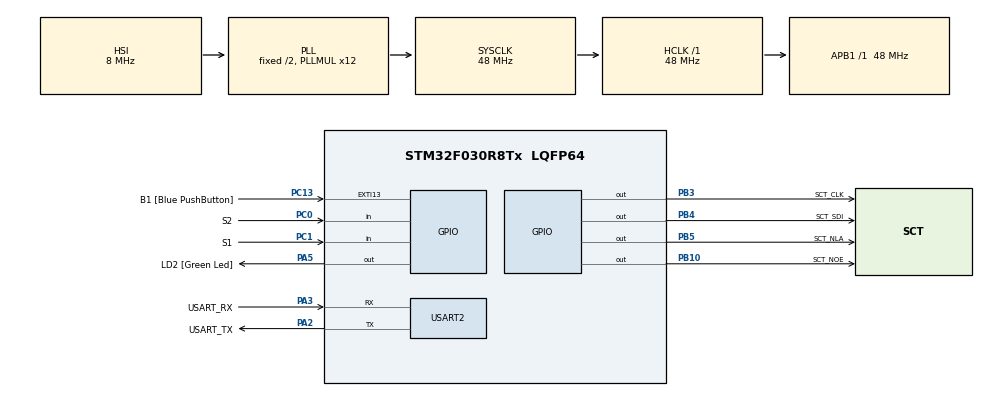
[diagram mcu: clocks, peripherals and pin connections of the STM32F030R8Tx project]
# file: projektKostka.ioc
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Mcu.Family=STM32F0
Mcu.Name=STM32F030R8Tx
Mcu.Package=LQFP64
PA13.GPIO_Label=TMS
PA13.Mode=Serial_Wire
PA13.Signal=SYS_SWDIO
PA14.GPIO_Label=TCK
PA14.Mode=Serial_Wire
PA14.Signal=SYS_SWCLK
PA2.GPIO_Label=USART_TX
PA2.GPIO_Mode=GPIO_MODE_AF_PP
PA2.GPIO_PuPd=GPIO_NOPULL
PA2.GPIO_Speed=GPIO_SPEED_FREQ_LOW
PA2.Mode=Asynchronous
PA2.Signal=USART2_TX
PA3.GPIO_Label=USART_RX
PA3.GPIO_Mode=GPIO_MODE_AF_PP
PA3.GPIO_PuPd=GPIO_NOPULL
PA3.GPIO_Speed=GPIO_SPEED_FREQ_LOW
PA3.Mode=Asynchronous
PA3.Signal=USART2_RX
PA5.GPIO_Label=LD2 [Green Led]
PA5.GPIO_Mode=GPIO_MODE_OUTPUT_PP
PA5.GPIO_PuPd=GPIO_NOPULL
PA5.GPIO_Speed=GPIO_SPEED_FREQ_LOW
PA5.Signal=GPIO_Output
PB10.GPIO_Label=SCT_NOE
PB10.Signal=GPIO_Output
PB3.GPIO_Label=SCT_CLK
PB3.Signal=GPIO_Output
PB4.GPIO_Label=SCT_SDI
PB4.Signal=GPIO_Output
PB5.GPIO_Label=SCT_NLA
PB5.Signal=GPIO_Output
PC0.GPIO_Label=S2
PC0.GPIO_PuPd=GPIO_PULLUP
PC0.Signal=GPIO_Input
PC1.GPIO_Label=S1
PC1.GPIO_PuPd=GPIO_PULLUP
PC1.Signal=GPIO_Input
PC13.GPIO_Label=B1 [Blue PushButton]
PC13.GPIO_ModeDefaultEXTI=GPIO_MODE_IT_FALLING
PC13.Signal=GPXTI13
PC14-OSC32_IN.Mode=LSE-External-Oscillator
PC14-OSC32_IN.Signal=RCC_OSC32_IN
PC15-OSC32_OUT.Mode=LSE-External-Oscillator
PC15-OSC32_OUT.Signal=RCC_OSC32_OUT
PF0-OSC_IN.Mode=HSE-External-Clock-Source
PF0-OSC_IN.Signal=RCC_OSC_IN
PF1-OSC_OUT.Signal=RCC_OSC_OUT
ProjectManager.HeapSize=0x200
ProjectManager.StackSize=0x400
ProjectManager.TargetToolchain=STM32CubeIDE
RCC.AHBFreq_Value=48000000
RCC.APB1Freq_Value=48000000
RCC.APB1TimFreq_Value=48000000
RCC.HCLKFreq_Value=48000000
RCC.PLLMUL=RCC_PLL_MUL12
RCC.SYSCLKFreq_VALUE=48000000
RCC.SYSCLKSource=RCC_SYSCLKSOURCE_PLLCLK
USART2.VirtualMode-Asynchronous=VM_ASYNC
board=NUCLEO-F030R8

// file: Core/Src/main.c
/* USER CODE BEGIN Header */
/**
  ******************************************************************************
  * @file           : main.c
  * @brief          : Main program body
  ******************************************************************************
  * @attention
  *
  * Copyright (c) 2025 STMicroelectronics.
  * All rights reserved.
  *
  * This software is licensed under terms that can be found in the LICENSE file
  * in the root directory of this software component.
  * If no LICENSE file comes with this software, it is provided AS-IS.
  *
  ******************************************************************************
  */
/* USER CODE END Header */
#include "main.h"

/* USER CODE BEGIN Includes */
#include "sct.h"
/* USER CODE END Includes */

/* USER CODE BEGIN PD */
#define ADD_VALUE 30
/* USER CODE END PD */

UART_HandleTypeDef huart2;

void SystemClock_Config(void);
static void MX_GPIO_Init(void);
static void MX_USART2_UART_Init(void);

int main(void)
{

  /* MCU Configuration--------------------------------------------------------*/

  /* Reset of all peripherals, Initializes the Flash interface and the Systick. */
  HAL_Init();

  /* Configure the system clock */
  SystemClock_Config();

  /* Initialize all configured peripherals */
  MX_GPIO_Init();
  MX_USART2_UART_Init();
  /* USER CODE BEGIN 2 */
  sct_init();
  HAL_Delay(1000);
  /* USER CODE END 2 */

  /* Infinite loop */
  /* USER CODE BEGIN WHILE */
  while (1)
  {
	  static uint16_t delay=40;
	  static uint8_t loop=0;
	  static uint16_t counter=0;
	  static uint32_t lastTick=0;

	  //sct_valueWithLEDsSpecial(100);
	  if(HAL_GPIO_ReadPin(S2_GPIO_Port, S2_Pin)==0)
	  {
		  loop=1;
		  counter = 0;
		  delay=40;
	  }
	  static uint8_t i = 1;
	  if (HAL_GPIO_ReadPin(S1_GPIO_Port, S1_Pin) == 0)
	  {
		  loop = 0;
	  }
	  if (HAL_GetTick() - lastTick >= delay && loop == 1)
	  {
		  sct_valueWithLEDsSpecial(i);
		  if(counter==18&&HAL_GetTick()%3==0)//možná spíš modulo 5
		  {
			  i=6;
		  }

		  i++;
		  lastTick = HAL_GetTick();
	  if (i == 7)
	  {
		i = 1;
		  counter++;
		  if (counter > 10) {
			delay = delay + ADD_VALUE;

			if (counter == 19)
			{
				loop = 0;
				counter = 0;
				delay=40;
			}
	  }

	}

	  }

    /* USER CODE END WHILE */

  }
}

void SystemClock_Config(void)
{
  RCC_OscInitTypeDef RCC_OscInitStruct = {0};
  RCC_ClkInitTypeDef RCC_ClkInitStruct = {0};

  /** Initializes the RCC Oscillators according to the specified parameters
  * in the RCC_OscInitTypeDef structure.
  */
  RCC_OscInitStruct.OscillatorType = RCC_OSCILLATORTYPE_HSI;
  RCC_OscInitStruct.HSIState = RCC_HSI_ON;
  RCC_OscInitStruct.HSICalibrationValue = RCC_HSICALIBRATION_DEFAULT;
  RCC_OscInitStruct.PLL.PLLState = RCC_PLL_ON;
  RCC_OscInitStruct.PLL.PLLSource = RCC_PLLSOURCE_HSI;
  RCC_OscInitStruct.PLL.PLLMUL = RCC_PLL_MUL12;
  RCC_OscInitStruct.PLL.PREDIV = RCC_PREDIV_DIV1;
  if (HAL_RCC_OscConfig(&RCC_OscInitStruct) != HAL_OK)
  {
    Error_Handler();
  }

  /** Initializes the CPU, AHB and APB buses clocks
  */
  RCC_ClkInitStruct.ClockType = RCC_CLOCKTYPE_HCLK|RCC_CLOCKTYPE_SYSCLK
                              |RCC_CLOCKTYPE_PCLK1;
  RCC_ClkInitStruct.SYSCLKSource = RCC_SYSCLKSOURCE_PLLCLK;
  RCC_ClkInitStruct.AHBCLKDivider = RCC_SYSCLK_DIV1;
  RCC_ClkInitStruct.APB1CLKDivider = RCC_HCLK_DIV1;

  if (HAL_RCC_ClockConfig(&RCC_ClkInitStruct, FLASH_LATENCY_1) != HAL_OK)
  {
    Error_Handler();
  }
}

static void MX_USART2_UART_Init(void)
{

  huart2.Instance = USART2;
  huart2.Init.BaudRate = 38400;
  huart2.Init.WordLength = UART_WORDLENGTH_8B;
  huart2.Init.StopBits = UART_STOPBITS_1;
  huart2.Init.Parity = UART_PARITY_NONE;
  huart2.Init.Mode = UART_MODE_TX_RX;
  huart2.Init.HwFlowCtl = UART_HWCONTROL_NONE;
  huart2.Init.OverSampling = UART_OVERSAMPLING_16;
  huart2.Init.OneBitSampling = UART_ONE_BIT_SAMPLE_DISABLE;
  huart2.AdvancedInit.AdvFeatureInit = UART_ADVFEATURE_NO_INIT;
  if (HAL_UART_Init(&huart2) != HAL_OK)
  {
    Error_Handler();
  }

}

static void MX_GPIO_Init(void)
{
  GPIO_InitTypeDef GPIO_InitStruct = {0};

  /* GPIO Ports Clock Enable */
  __HAL_RCC_GPIOC_CLK_ENABLE();
  __HAL_RCC_GPIOF_CLK_ENABLE();
  __HAL_RCC_GPIOA_CLK_ENABLE();
  __HAL_RCC_GPIOB_CLK_ENABLE();

  /*Configure GPIO pin Output Level */
  HAL_GPIO_WritePin(LD2_GPIO_Port, LD2_Pin, GPIO_PIN_RESET);

  /*Configure GPIO pin Output Level */
  HAL_GPIO_WritePin(GPIOB, SCT_NOE_Pin|SCT_CLK_Pin|SCT_SDI_Pin|SCT_NLA_Pin, GPIO_PIN_RESET);

  /*Configure GPIO pin : B1_Pin */
  GPIO_InitStruct.Pin = B1_Pin;
  GPIO_InitStruct.Mode = GPIO_MODE_IT_FALLING;
  GPIO_InitStruct.Pull = GPIO_NOPULL;
  HAL_GPIO_Init(B1_GPIO_Port, &GPIO_InitStruct);

  /*Configure GPIO pins : S2_Pin S1_Pin */
  GPIO_InitStruct.Pin = S2_Pin|S1_Pin;
  GPIO_InitStruct.Mode = GPIO_MODE_INPUT;
  GPIO_InitStruct.Pull = GPIO_PULLUP;
  HAL_GPIO_Init(GPIOC, &GPIO_InitStruct);

  /*Configure GPIO pin : LD2_Pin */
  GPIO_InitStruct.Pin = LD2_Pin;
  GPIO_InitStruct.Mode = GPIO_MODE_OUTPUT_PP;
  GPIO_InitStruct.Pull = GPIO_NOPULL;
  GPIO_InitStruct.Speed = GPIO_SPEED_FREQ_LOW;
  HAL_GPIO_Init(LD2_GPIO_Port, &GPIO_InitStruct);

  /*Configure GPIO pins : SCT_NOE_Pin SCT_CLK_Pin SCT_SDI_Pin SCT_NLA_Pin */
  GPIO_InitStruct.Pin = SCT_NOE_Pin|SCT_CLK_Pin|SCT_SDI_Pin|SCT_NLA_Pin;
  GPIO_InitStruct.Mode = GPIO_MODE_OUTPUT_PP;
  GPIO_InitStruct.Pull = GPIO_NOPULL;
  GPIO_InitStruct.Speed = GPIO_SPEED_FREQ_LOW;
  HAL_GPIO_Init(GPIOB, &GPIO_InitStruct);

}

void Error_Handler(void)
{
  __disable_irq();
  while (1)
  {
  }
}
